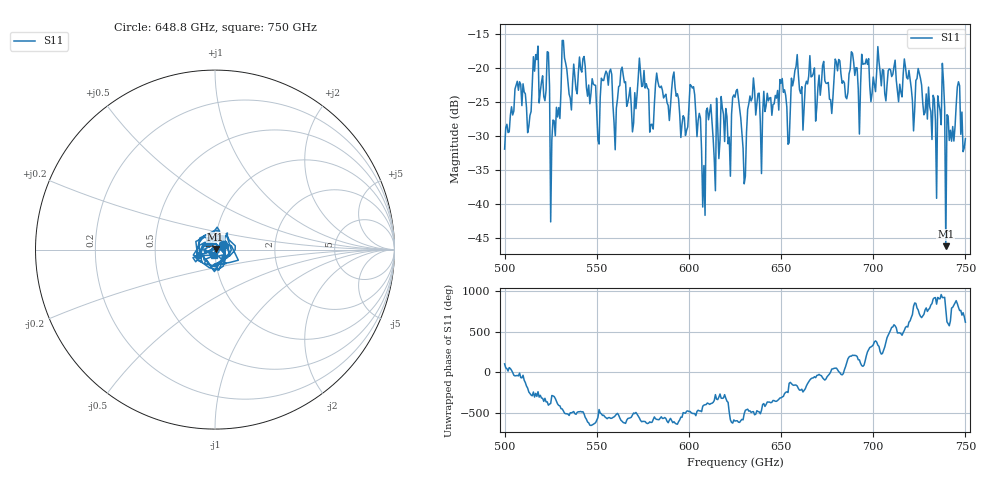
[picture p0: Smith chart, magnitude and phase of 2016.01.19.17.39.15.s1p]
!Created with skrf (http://scikit-rf.org).
# GHz S RI R 50.0
!freq ReS11 ImS11
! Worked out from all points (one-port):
!   401 points, 500 GHz to 750 GHz, reference 50 ohm
!   lowest |S11| = -46.2 dB at 739.4 GHz (marker M1), VSWR 1.01, Z = 50.3 + j0.402 ohm
!   |S11| at or under -10 dB: start of sweep to end of sweep
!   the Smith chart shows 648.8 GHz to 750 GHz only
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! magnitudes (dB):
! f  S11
! 500 GHz  -31.9
! 506.9 GHz  -22.0
! 513.1 GHz  -28.6
! 516.9 GHz  -18.1
! 523.1 GHz  -17.7
! 526.2 GHz  -27.7
! 531.2 GHz  -16.0
! 541.9 GHz  -20.7
! 550.6 GHz  -30.6
! 562.5 GHz  -22.6
! 574.4 GHz  -22.8
! 580 GHz  -28.3
! 593.8 GHz  -23.8
! 598.1 GHz  -29.9
! 601.9 GHz  -23.0
! 607.5 GHz  -40.4
! 610.6 GHz  -27.6
! 615 GHz  -24.5
! 625 GHz  -24.3
! 630 GHz  -37.0
! 634.4 GHz  -24.4
! 653.8 GHz  -31.2
! 656.2 GHz  -22.7
! 687.5 GHz  -20.2
! 718.8 GHz  -21.7
! 739.4 GHz  -46.2
! 745.6 GHz  -22.8
! 750 GHz  -30.4
